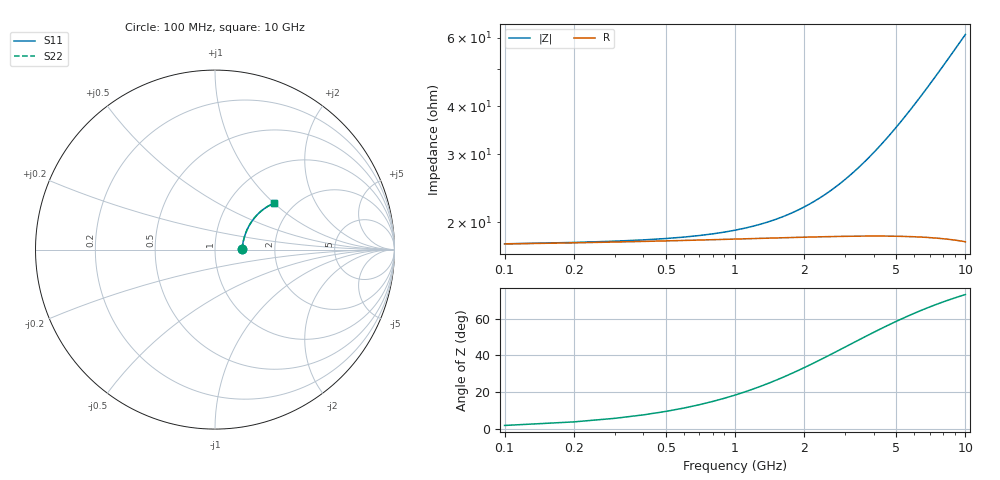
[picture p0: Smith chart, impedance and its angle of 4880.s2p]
# Hz S RI R 50.00
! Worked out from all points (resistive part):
!   100 points, 100 MHz to 10 GHz, reference 50 ohm
!   read as one part in series: R = 17.6 ohm at 100 MHz
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1e8  0.1496 0.00357  0.8504 -0.00514  0.8504 -0.00514  0.1496 0.00357
6e8  0.153 0.0212  0.8469 -0.0307  0.8469 -0.0307  0.153 0.0212
8e8  0.1542 0.0282  0.8457 -0.0408  0.8457 -0.0408  0.1542 0.0282
1e9  0.1555 0.0352  0.8444 -0.0509  0.8444 -0.0509  0.1555 0.0352
1.4e9  0.1583 0.049  0.8414 -0.0711  0.8414 -0.0711  0.1583 0.049
1.8e9  0.1617 0.0626  0.8378 -0.091  0.8378 -0.091  0.1617 0.0626
2.1e9  0.1646 0.0727  0.8348 -0.1058  0.8348 -0.1058  0.1646 0.0727
2.4e9  0.1678 0.0826  0.8314 -0.1205  0.8314 -0.1205  0.1678 0.0826
2.9e9  0.1738 0.0989  0.8251 -0.1447  0.8251 -0.1447  0.1738 0.0989
3.4e9  0.1806 0.1146  0.8178 -0.1684  0.8178 -0.1684  0.1806 0.1146
4.3e9  0.1951 0.1417  0.8024 -0.2098  0.8024 -0.2098  0.1951 0.1417
5.1e9  0.21 0.1641  0.7865 -0.2449  0.7865 -0.2449  0.21 0.1641
5.5e9  0.2181 0.1747  0.7778 -0.2618  0.7778 -0.2618  0.2181 0.1747
5.9e9  0.2267 0.1847  0.7686 -0.2783  0.7686 -0.2783  0.2267 0.1847
6.3e9  0.2356 0.1944  0.759 -0.2943  0.759 -0.2943  0.2356 0.1944
6.7e9  0.2448 0.2035  0.749 -0.3098  0.749 -0.3098  0.2448 0.2035
7.1e9  0.2544 0.2121  0.7387 -0.3248  0.7387 -0.3248  0.2544 0.2121
7.5e9  0.2643 0.2202  0.728 -0.3394  0.728 -0.3394  0.2643 0.2202
7.9e9  0.2744 0.2278  0.717 -0.3534  0.717 -0.3534  0.2744 0.2278
8.4e9  0.2874 0.2366  0.7029 -0.3702  0.7029 -0.3702  0.2874 0.2366
9.2e9  0.3088 0.249  0.6796 -0.3955  0.6796 -0.3955  0.3088 0.249
1e10  0.3307 0.2592  0.6556 -0.4188  0.6556 -0.4188  0.3307 0.2592
